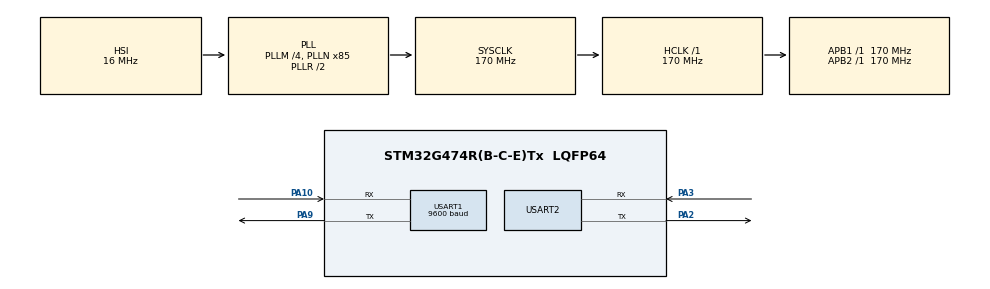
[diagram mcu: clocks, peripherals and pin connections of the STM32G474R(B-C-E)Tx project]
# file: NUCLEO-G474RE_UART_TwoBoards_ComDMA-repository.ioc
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Dma.Request0=USART1_RX
Dma.Request1=USART1_TX
Dma.USART1_RX.0.Direction=DMA_PERIPH_TO_MEMORY
Dma.USART1_RX.0.EventEnable=DISABLE
Dma.USART1_RX.0.Instance=DMA1_Channel5
Dma.USART1_RX.0.MemDataAlignment=DMA_MDATAALIGN_BYTE
Dma.USART1_RX.0.MemInc=DMA_MINC_ENABLE
Dma.USART1_RX.0.Mode=DMA_NORMAL
Dma.USART1_RX.0.PeriphDataAlignment=DMA_PDATAALIGN_BYTE
Dma.USART1_RX.0.PeriphInc=DMA_PINC_DISABLE
Dma.USART1_RX.0.Polarity=HAL_DMAMUX_REQ_GEN_RISING
Dma.USART1_RX.0.Priority=DMA_PRIORITY_HIGH
Dma.USART1_RX.0.RequestNumber=1
Dma.USART1_RX.0.SignalID=NONE
Dma.USART1_RX.0.SyncEnable=DISABLE
Dma.USART1_RX.0.SyncPolarity=HAL_DMAMUX_SYNC_NO_EVENT
Dma.USART1_RX.0.SyncRequestNumber=1
Dma.USART1_RX.0.SyncSignalID=NONE
Dma.USART1_TX.1.Direction=DMA_MEMORY_TO_PERIPH
Dma.USART1_TX.1.EventEnable=DISABLE
Dma.USART1_TX.1.Instance=DMA1_Channel4
Dma.USART1_TX.1.MemDataAlignment=DMA_MDATAALIGN_BYTE
Dma.USART1_TX.1.MemInc=DMA_MINC_ENABLE
Dma.USART1_TX.1.Mode=DMA_NORMAL
Dma.USART1_TX.1.PeriphDataAlignment=DMA_PDATAALIGN_BYTE
Dma.USART1_TX.1.PeriphInc=DMA_PINC_DISABLE
Dma.USART1_TX.1.Polarity=HAL_DMAMUX_REQ_GEN_RISING
Dma.USART1_TX.1.Priority=DMA_PRIORITY_LOW
Dma.USART1_TX.1.RequestNumber=1
Dma.USART1_TX.1.SignalID=NONE
Dma.USART1_TX.1.SyncEnable=DISABLE
Dma.USART1_TX.1.SyncPolarity=HAL_DMAMUX_SYNC_NO_EVENT
Dma.USART1_TX.1.SyncRequestNumber=1
Dma.USART1_TX.1.SyncSignalID=NONE
Mcu.Family=STM32G4
Mcu.Name=STM32G474R(B-C-E)Tx
Mcu.Package=LQFP64
NVIC.DMA1_Channel4_IRQn=true\:0\:0\:false\:false\:true\:true\:true\:true
NVIC.DMA1_Channel5_IRQn=true\:0\:0\:false\:false\:true\:true\:true\:true
NVIC.PriorityGroup=NVIC_PRIORITYGROUP_4
NVIC.USART1_IRQn=true\:1\:0\:true\:false\:true\:true\:true\:true
PA10.GPIO_PuPd=GPIO_PULLUP
PA10.Mode=Asynchronous
PA10.Signal=USART1_RX
PA2.Mode=Asynchronous
PA2.Signal=USART2_TX
PA3.Mode=Asynchronous
PA3.Signal=USART2_RX
PA9.GPIO_PuPd=GPIO_PULLUP
PA9.Mode=Asynchronous
PA9.Signal=USART1_TX
ProjectManager.HeapSize=0x200
ProjectManager.StackSize=0x400
ProjectManager.TargetToolchain=STM32CubeIDE
RCC.ADC12Freq_Value=170000000
RCC.ADC345Freq_Value=170000000
RCC.AHBFreq_Value=170000000
RCC.APB1Freq_Value=170000000
RCC.APB1TimFreq_Value=170000000
RCC.APB2Freq_Value=170000000
RCC.APB2TimFreq_Value=170000000
RCC.CortexFreq_Value=170000000
RCC.EXTERNAL_CLOCK_VALUE=12288000
RCC.HCLKFreq_Value=170000000
RCC.HSE_VALUE=24000000
RCC.HSI48_VALUE=48000000
RCC.HSI_VALUE=16000000
RCC.LSE_VALUE=32768
RCC.PLLM=RCC_PLLM_DIV4
RCC.PLLN=85
RCC.SYSCLKFreq_VALUE=170000000
RCC.SYSCLKSource=RCC_SYSCLKSOURCE_PLLCLK
RCC.USBFreq_Value=170000000
RCC.VCOOutputFreq_Value=340000000
USART1.AutoBaudRateEnableParam=UART_ADVFEATURE_AUTOBAUDRATE_DISABLE
USART1.BaudRate=9600
USART1.DMADisableonRxErrorParam=ADVFEATURE_DMA_ENABLEONRXERROR
USART1.DataInvertParam=ADVFEATURE_DATAINV_DISABLE
USART1.MSBFirstParam=ADVFEATURE_MSBFIRST_DISABLE
USART1.Mode=MODE_TX_RX
USART1.OneBitSampling=UART_ONE_BIT_SAMPLE_DISABLE
USART1.OverSampling=UART_OVERSAMPLING_16
USART1.OverrunDisableParam=ADVFEATURE_OVERRUN_ENABLE
USART1.Parity=PARITY_NONE
USART1.RxPinLevelInvertParam=ADVFEATURE_RXINV_DISABLE
USART1.StopBits=STOPBITS_1
USART1.SwapParam=ADVFEATURE_SWAP_DISABLE
USART1.TxPinLevelInvertParam=ADVFEATURE_TXINV_DISABLE
USART1.VirtualMode-Asynchronous=VM_ASYNC
USART1.WordLength=WORDLENGTH_8B
USART2.VirtualMode-Asynchronous=VM_ASYNC
VP_SYS_VS_DBSignals.Mode=DisableDeadBatterySignals
board=custom

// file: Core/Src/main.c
/* USER CODE BEGIN Header */
/**
  ******************************************************************************
  * @file    UART/UART_TwoBoards_ComDMA/Src/main.c
  * @author  MCD Application Team
  * @brief   This sample code shows how to use UART HAL API to transmit
  *          and receive a data buffer with a communication process based on
  *          DMA transfer.
  *          The communication is done using 2 Boards.
  ******************************************************************************
  * @attention
  *
  * Copyright (c) 2019 STMicroelectronics.
  * All rights reserved.
  *
  * This software is licensed under terms that can be found in the LICENSE file
  * in the root directory of this software component.
  * If no LICENSE file comes with this software, it is provided AS-IS.
  *
  ******************************************************************************
  */
/* USER CODE END Header */
#include "main.h"

/* USER CODE BEGIN PD */
#define TRANSMITTER_BOARD
/* USER CODE END PD */

UART_HandleTypeDef huart1;
UART_HandleTypeDef huart2;
DMA_HandleTypeDef hdma_usart1_rx;
DMA_HandleTypeDef hdma_usart1_tx;

/* USER CODE BEGIN PV */
__IO ITStatus UartReady = RESET;
__IO uint32_t UserButtonStatus = 0;  /* set to 1 after User Button interrupt  */

/* Buffer used for transmission */
uint8_t aTxBuffer[] = " ****UART_TwoBoards communication based on DMA****  ****UART_TwoBoards communication based on DMA****  ****UART_TwoBoards communication based on DMA**** ";

/* Buffer used for reception */
uint8_t aRxBuffer[RXBUFFERSIZE];

/* USER CODE END PV */

void SystemClock_Config(void);
static void MX_GPIO_Init(void);
static void MX_DMA_Init(void);
static void MX_USART1_UART_Init(void);
static void MX_USART2_UART_Init(void);
/* USER CODE BEGIN PFP */
static uint16_t Buffercmp(uint8_t *pBuffer1, uint8_t *pBuffer2, uint16_t BufferLength);

/* USER CODE END PFP */

int main(void)
{
  /* USER CODE BEGIN 1 */
  /* STM32G4xx HAL library initialization:
       - Configure the Flash prefetch
       - Systick timer is configured by default as source of time base, but user
         can eventually implement his proper time base source (a general purpose
         timer for example or other time source), keeping in mind that Time base
         duration should be kept 1ms since PPP_TIMEOUT_VALUEs are defined and
         handled in milliseconds basis.
       - Set NVIC Group Priority to 4
       - Low Level Initialization
     */
  /* USER CODE END 1 */

  /* MCU Configuration--------------------------------------------------------*/

  /* Reset of all peripherals, Initializes the Flash interface and the Systick. */
  HAL_Init();

  /* Configure the system clock */
  SystemClock_Config();

  /* Initialize all configured peripherals */
  MX_GPIO_Init();
  MX_DMA_Init();
  MX_USART1_UART_Init();
  MX_USART2_UART_Init();
  /* USER CODE BEGIN 2 */

  /* Configure LED2 */
  BSP_LED_Init(LED2);

  if (HAL_UART_Transmit_DMA(&huart2, (uint8_t *)aTxBuffer, TXBUFFERSIZE) != HAL_OK)
  {
    Error_Handler();
  }

  /*##-4- Wait for the end of the transfer ###################################*/
  while (UartReady != SET)
  {
  }
  /* Reset transmission flag */
  UartReady = RESET;

#ifdef TRANSMITTER_BOARD
  /* Configure User push-button in Interrupt mode */
  BSP_PB_Init(BUTTON_USER, BUTTON_MODE_EXTI);

  /* Wait for User push-button press before starting the Communication.
     In the meantime, LED2 is blinking */
  while (UserButtonStatus == 0)
  {
    /* Toggle LED2*/
    BSP_LED_Toggle(LED2);
    HAL_Delay(100);
  }

  BSP_LED_Off(LED2);
#endif

#ifdef TRANSMITTER_BOARD

  /* The board sends the message and expects to receive it back */
  /* DMA is programmed for reception before starting the transmission, in order to
     be sure DMA Rx is ready when board 2 will start transmitting */

  /*##-2- Program the Reception process #####################################*/
  if (HAL_UART_Receive_DMA(&huart1, (uint8_t *)aRxBuffer, RXBUFFERSIZE) != HAL_OK)
  {
    Error_Handler();
  }

  /*##-3- Start the transmission process #####################################*/
  /* While the UART in reception process, user can transmit data through
     "aTxBuffer" buffer */
  if (HAL_UART_Transmit_DMA(&huart1, (uint8_t *)aTxBuffer, TXBUFFERSIZE) != HAL_OK)
  {
    Error_Handler();
  }

  /*##-4- Wait for the end of the transfer ###################################*/
  while (UartReady != SET)
  {
  }

  /* Reset transmission flag */
  UartReady = RESET;

#else

  /* The board receives the message and sends it back */

  /*##-2- Put UART peripheral in reception process ###########################*/
  if (HAL_UART_Receive_DMA(&huart1, (uint8_t *)aRxBuffer, RXBUFFERSIZE) != HAL_OK)
  {
    Error_Handler();
  }

  /*##-3- Wait for the end of the transfer ###################################*/
  /* While waiting for message to come from the other board, LED2 is
     blinking according to the following pattern: a double flash every half-second */
  while (UartReady != SET)
  {
    BSP_LED_On(LED2);
    HAL_Delay(100);
    BSP_LED_Off(LED2);
    HAL_Delay(100);
    BSP_LED_On(LED2);
    HAL_Delay(100);
    BSP_LED_Off(LED2);
    HAL_Delay(500);
  }

  /* Reset transmission flag */
  UartReady = RESET;
  BSP_LED_Off(LED2);

  /*##-4- Start the transmission process #####################################*/
  /* While the UART in reception process, user can transmit data through
     "aTxBuffer" buffer */
  if (HAL_UART_Transmit_DMA(&huart1, (uint8_t *)aTxBuffer, TXBUFFERSIZE) != HAL_OK)
  {
    Error_Handler();
  }

#endif /* TRANSMITTER_BOARD */

  /*##-5- Wait for the end of the transfer ###################################*/
  while (UartReady != SET)
  {
  }

  /* Reset transmission flag */
  UartReady = RESET;

  /*##-6- Compare the sent and received buffers ##############################*/
  if (Buffercmp((uint8_t *)aTxBuffer, (uint8_t *)aRxBuffer, RXBUFFERSIZE))
  {
    Error_Handler();
  }

  /* Turn on LED2 if test passes then enter infinite loop */
  BSP_LED_On(LED2);

  /* USER CODE END 2 */

  /* Infinite loop */
  while (1)
  {

  }
}

void SystemClock_Config(void)
{
  RCC_OscInitTypeDef RCC_OscInitStruct = {0};
  RCC_ClkInitTypeDef RCC_ClkInitStruct = {0};

  /** Configure the main internal regulator output voltage
  */
  HAL_PWREx_ControlVoltageScaling(PWR_REGULATOR_VOLTAGE_SCALE1_BOOST);

  /** Initializes the RCC Oscillators according to the specified parameters
  * in the RCC_OscInitTypeDef structure.
  */
  RCC_OscInitStruct.OscillatorType = RCC_OSCILLATORTYPE_HSI;
  RCC_OscInitStruct.HSIState = RCC_HSI_ON;
  RCC_OscInitStruct.HSICalibrationValue = RCC_HSICALIBRATION_DEFAULT;
  RCC_OscInitStruct.PLL.PLLState = RCC_PLL_ON;
  RCC_OscInitStruct.PLL.PLLSource = RCC_PLLSOURCE_HSI;
  RCC_OscInitStruct.PLL.PLLM = RCC_PLLM_DIV4;
  RCC_OscInitStruct.PLL.PLLN = 85;
  RCC_OscInitStruct.PLL.PLLP = RCC_PLLP_DIV2;
  RCC_OscInitStruct.PLL.PLLQ = RCC_PLLQ_DIV2;
  RCC_OscInitStruct.PLL.PLLR = RCC_PLLR_DIV2;
  if (HAL_RCC_OscConfig(&RCC_OscInitStruct) != HAL_OK)
  {
    Error_Handler();
  }

  /** Initializes the CPU, AHB and APB buses clocks
  */
  RCC_ClkInitStruct.ClockType = RCC_CLOCKTYPE_HCLK|RCC_CLOCKTYPE_SYSCLK
                              |RCC_CLOCKTYPE_PCLK1|RCC_CLOCKTYPE_PCLK2;
  RCC_ClkInitStruct.SYSCLKSource = RCC_SYSCLKSOURCE_PLLCLK;
  RCC_ClkInitStruct.AHBCLKDivider = RCC_SYSCLK_DIV1;
  RCC_ClkInitStruct.APB1CLKDivider = RCC_HCLK_DIV1;
  RCC_ClkInitStruct.APB2CLKDivider = RCC_HCLK_DIV1;

  if (HAL_RCC_ClockConfig(&RCC_ClkInitStruct, FLASH_LATENCY_4) != HAL_OK)
  {
    Error_Handler();
  }
}

static void MX_USART1_UART_Init(void)
{

  huart1.Instance = USART1;
  huart1.Init.BaudRate = 9600;
  huart1.Init.WordLength = UART_WORDLENGTH_8B;
  huart1.Init.StopBits = UART_STOPBITS_1;
  huart1.Init.Parity = UART_PARITY_NONE;
  huart1.Init.Mode = UART_MODE_TX_RX;
  huart1.Init.HwFlowCtl = UART_HWCONTROL_NONE;
  huart1.Init.OverSampling = UART_OVERSAMPLING_16;
  huart1.Init.OneBitSampling = UART_ONE_BIT_SAMPLE_DISABLE;
  huart1.Init.ClockPrescaler = UART_PRESCALER_DIV1;
  huart1.AdvancedInit.AdvFeatureInit = UART_ADVFEATURE_NO_INIT;
  if (HAL_UART_Init(&huart1) != HAL_OK)
  {
    Error_Handler();
  }
  if (HAL_UARTEx_SetTxFifoThreshold(&huart1, UART_TXFIFO_THRESHOLD_1_8) != HAL_OK)
  {
    Error_Handler();
  }
  if (HAL_UARTEx_SetRxFifoThreshold(&huart1, UART_RXFIFO_THRESHOLD_1_8) != HAL_OK)
  {
    Error_Handler();
  }
  if (HAL_UARTEx_DisableFifoMode(&huart1) != HAL_OK)
  {
    Error_Handler();
  }

}

static void MX_USART2_UART_Init(void)
{

  huart2.Instance = USART2;
  huart2.Init.BaudRate = 115200;
  huart2.Init.WordLength = UART_WORDLENGTH_8B;
  huart2.Init.StopBits = UART_STOPBITS_1;
  huart2.Init.Parity = UART_PARITY_NONE;
  huart2.Init.Mode = UART_MODE_TX_RX;
  huart2.Init.HwFlowCtl = UART_HWCONTROL_NONE;
  huart2.Init.OverSampling = UART_OVERSAMPLING_16;
  huart2.Init.OneBitSampling = UART_ONE_BIT_SAMPLE_DISABLE;
  huart2.Init.ClockPrescaler = UART_PRESCALER_DIV1;
  huart2.AdvancedInit.AdvFeatureInit = UART_ADVFEATURE_NO_INIT;
  if (HAL_UART_Init(&huart2) != HAL_OK)
  {
    Error_Handler();
  }
  if (HAL_UARTEx_SetTxFifoThreshold(&huart2, UART_TXFIFO_THRESHOLD_1_8) != HAL_OK)
  {
    Error_Handler();
  }
  if (HAL_UARTEx_SetRxFifoThreshold(&huart2, UART_RXFIFO_THRESHOLD_1_8) != HAL_OK)
  {
    Error_Handler();
  }
  if (HAL_UARTEx_DisableFifoMode(&huart2) != HAL_OK)
  {
    Error_Handler();
  }

}

static void MX_DMA_Init(void)
{

  /* DMA controller clock enable */
  __HAL_RCC_DMAMUX1_CLK_ENABLE();
  __HAL_RCC_DMA1_CLK_ENABLE();

  /* DMA interrupt init */
  /* DMA1_Channel4_IRQn interrupt configuration */
  HAL_NVIC_SetPriority(DMA1_Channel4_IRQn, 0, 0);
  HAL_NVIC_EnableIRQ(DMA1_Channel4_IRQn);
  /* DMA1_Channel5_IRQn interrupt configuration */
  HAL_NVIC_SetPriority(DMA1_Channel5_IRQn, 0, 0);
  HAL_NVIC_EnableIRQ(DMA1_Channel5_IRQn);

}

static void MX_GPIO_Init(void)
{

  /* GPIO Ports Clock Enable */
  __HAL_RCC_GPIOA_CLK_ENABLE();

}

/* USER CODE BEGIN 4 */

/**
  * @brief  Tx Transfer completed callback
  * @param  UartHandle: UART handle.
  * @note   This example shows a simple way to report end of DMA Tx transfer, and
  *         you can add your own implementation.
  * @retval None
  */
void HAL_UART_TxCpltCallback(UART_HandleTypeDef *UartHandle)
{
  /* Set transmission flag: transfer complete */
  UartReady = SET;

}

/**
  * @brief  Rx Transfer completed callback
  * @param  UartHandle: UART handle
  * @note   This example shows a simple way to report end of DMA Rx transfer, and
  *         you can add your own implementation.
  * @retval None
  */
void HAL_UART_RxCpltCallback(UART_HandleTypeDef *UartHandle)
{
  /* Set transmission flag: transfer complete */
  UartReady = SET;

}

/**
  * @brief  UART error callbacks
  * @param  UartHandle: UART handle
  * @note   This example shows a simple way to report transfer error, and you can
  *         add your own implementation.
  * @retval None
  */
void HAL_UART_ErrorCallback(UART_HandleTypeDef *UartHandle)
{
  Error_Handler();
}

/**
  * @brief EXTI line detection callbacks
  * @param GPIO_Pin: Specifies the pins connected EXTI line
  * @retval None
  */
void HAL_GPIO_EXTI_Callback(uint16_t GPIO_Pin)
{
  if (GPIO_Pin == USER_BUTTON_PIN)
  {
    UserButtonStatus = 1;
  }
}

/**
  * @brief  Compares two buffers.
  * @param  pBuffer1, pBuffer2: buffers to be compared.
  * @param  BufferLength: buffer's length
  * @retval 0  : pBuffer1 identical to pBuffer2
  *         >0 : pBuffer1 differs from pBuffer2
  */
static uint16_t Buffercmp(uint8_t *pBuffer1, uint8_t *pBuffer2, uint16_t BufferLength)
{
  while (BufferLength--)
  {
    if ((*pBuffer1) != *pBuffer2)
    {
      return BufferLength;
    }
    pBuffer1++;
    pBuffer2++;
  }

  return 0;
}

/* USER CODE END 4 */

void Error_Handler(void)
{
  /* USER CODE BEGIN Error_Handler_Debug */
  /* User can add his own implementation to report the HAL error return state */
  while (1)
  {
    /* Toggle LED2 for error */
    BSP_LED_Toggle(LED2);
    HAL_Delay(500);
  }
  /* USER CODE END Error_Handler_Debug */
}
